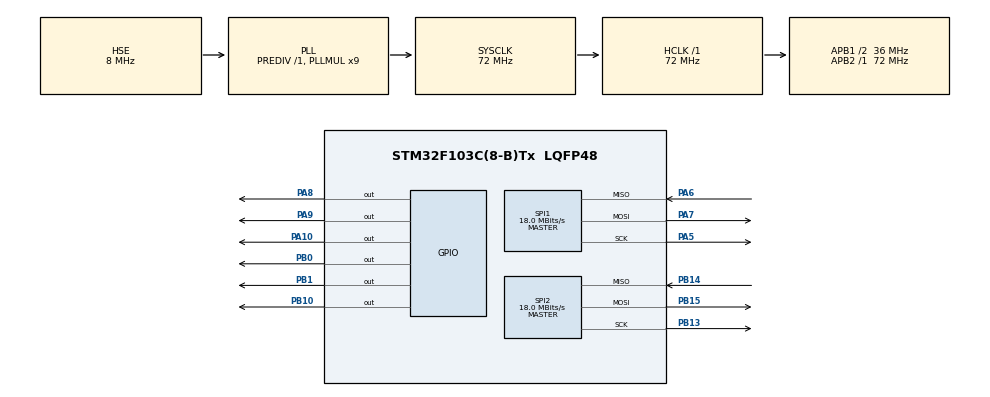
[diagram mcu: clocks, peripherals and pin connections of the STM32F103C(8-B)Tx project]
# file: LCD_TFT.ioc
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Dma.Request0=SPI1_TX
Dma.Request1=SPI2_TX
Dma.SPI1_TX.0.Direction=DMA_MEMORY_TO_PERIPH
Dma.SPI1_TX.0.Instance=DMA1_Channel3
Dma.SPI1_TX.0.MemDataAlignment=DMA_MDATAALIGN_BYTE
Dma.SPI1_TX.0.MemInc=DMA_MINC_ENABLE
Dma.SPI1_TX.0.Mode=DMA_NORMAL
Dma.SPI1_TX.0.PeriphDataAlignment=DMA_PDATAALIGN_BYTE
Dma.SPI1_TX.0.PeriphInc=DMA_PINC_DISABLE
Dma.SPI1_TX.0.Priority=DMA_PRIORITY_LOW
Dma.SPI2_TX.1.Direction=DMA_MEMORY_TO_PERIPH
Dma.SPI2_TX.1.Instance=DMA1_Channel5
Dma.SPI2_TX.1.MemDataAlignment=DMA_MDATAALIGN_BYTE
Dma.SPI2_TX.1.MemInc=DMA_MINC_ENABLE
Dma.SPI2_TX.1.Mode=DMA_NORMAL
Dma.SPI2_TX.1.PeriphDataAlignment=DMA_PDATAALIGN_BYTE
Dma.SPI2_TX.1.PeriphInc=DMA_PINC_DISABLE
Dma.SPI2_TX.1.Priority=DMA_PRIORITY_LOW
Mcu.Family=STM32F1
Mcu.Name=STM32F103C(8-B)Tx
Mcu.Package=LQFP48
NVIC.DMA1_Channel3_IRQn=true\:0\:0\:false\:false\:true\:false\:true\:true
NVIC.DMA1_Channel5_IRQn=true\:0\:0\:false\:false\:true\:false\:true\:true
NVIC.PriorityGroup=NVIC_PRIORITYGROUP_4
PA10.Signal=GPIO_Output
PA13.Mode=Serial_Wire
PA13.Signal=SYS_JTMS-SWDIO
PA14.Mode=Serial_Wire
PA14.Signal=SYS_JTCK-SWCLK
PA5.Mode=Full_Duplex_Master
PA5.Signal=SPI1_SCK
PA6.Mode=Full_Duplex_Master
PA6.Signal=SPI1_MISO
PA7.Mode=Full_Duplex_Master
PA7.Signal=SPI1_MOSI
PA8.Signal=GPIO_Output
PA9.Signal=GPIO_Output
PB0.Signal=GPIO_Output
PB1.Signal=GPIO_Output
PB10.Signal=GPIO_Output
PB13.Mode=Full_Duplex_Master
PB13.Signal=SPI2_SCK
PB14.Mode=Full_Duplex_Master
PB14.Signal=SPI2_MISO
PB15.Mode=Full_Duplex_Master
PB15.Signal=SPI2_MOSI
PD0-OSC_IN.Mode=HSE-External-Oscillator
PD0-OSC_IN.Signal=RCC_OSC_IN
PD1-OSC_OUT.Mode=HSE-External-Oscillator
PD1-OSC_OUT.Signal=RCC_OSC_OUT
ProjectManager.HeapSize=0x200
ProjectManager.StackSize=0x400
ProjectManager.TargetToolchain=STM32CubeIDE
RCC.AHBFreq_Value=72000000
RCC.APB1CLKDivider=RCC_HCLK_DIV2
RCC.APB1Freq_Value=36000000
RCC.APB1TimFreq_Value=72000000
RCC.APB2Freq_Value=72000000
RCC.APB2TimFreq_Value=72000000
RCC.HCLKFreq_Value=72000000
RCC.PLLMUL=RCC_PLL_MUL9
RCC.PLLSourceVirtual=RCC_PLLSOURCE_HSE
RCC.SYSCLKFreq_VALUE=72000000
RCC.SYSCLKSource=RCC_SYSCLKSOURCE_PLLCLK
RCC.USBFreq_Value=72000000
SPI1.BaudRatePrescaler=SPI_BAUDRATEPRESCALER_4
SPI1.CalculateBaudRate=18.0 MBits/s
SPI1.Direction=SPI_DIRECTION_2LINES
SPI1.Mode=SPI_MODE_MASTER
SPI1.VirtualType=VM_MASTER
SPI2.CalculateBaudRate=18.0 MBits/s
SPI2.Direction=SPI_DIRECTION_2LINES
SPI2.Mode=SPI_MODE_MASTER
SPI2.VirtualType=VM_MASTER
board=custom

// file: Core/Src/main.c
/* USER CODE BEGIN Header */
/**
  ******************************************************************************
  * @file           : main.c
  * @brief          : Main program body
  ******************************************************************************
  * @attention
  *
  * Copyright (c) 2025 STMicroelectronics.
  * All rights reserved.
  *
  * This software is licensed under terms that can be found in the LICENSE file
  * in the root directory of this software component.
  * If no LICENSE file comes with this software, it is provided AS-IS.
  *
  ******************************************************************************
  */
/* USER CODE END Header */
#include "main.h"
#include "lcd128.h"
#include "math.h"
#include "LCD_Paint.h"
#include <stdlib.h>
#include <stdio.h>

/* USER CODE BEGIN PD */
typedef enum {
  STATE_UP_FROM_CENTER,
  STATE_DOWN_TO_CENTER,
  STATE_LEFT_FROM_CENTER,
  STATE_RIGHT_TO_CENTER,
  STATE_DOWN_FROM_CENTER,
  STATE_UP_TO_CENTER,
  STATE_RIGHT_FROM_CENTER,
  STATE_LEFT_TO_CENTER,

  STATE_UPLEFT_FROM_CENTER,
  STATE_DOWNRIGHT_TO_CENTER,
  STATE_UPRIGHT_FROM_CENTER,
  STATE_DOWNLEFT_TO_CENTER,
  STATE_DOWNLEFT_FROM_CENTER,
  STATE_UPRIGHT_TO_CENTER,
//  STATE_DOWNRIGHT_FROM_CENTER,
  STATE_UPLEFT_TO_CENTER,

  STATE_RANDOM_MOVE,
  STATE_RANDOM_MOVE1,
  STATE_RANDOM_TO_CENTER,
  STATE_PUPIL_ROTATE

} MoveState;

/* USER CODE END PD */

/* USER CODE BEGIN PM */
#define BUF_W 120
#define BUF_H 120
#define BLOCK_LINES 1
void draw_eye_with_pupil_to_buffer(int cx, int cy, int r, int pupil_r, int pupil_offset_x, int pupil_offset_y, uint16_t outer_color, uint16_t inner_color, uint16_t bgcolor, uint16_t pupil_color);
void draw_realistic_eye(int cx, int cy, int r, int pupil_r, int pupil_offset_x, int pupil_offset_y,uint16_t bgcolor);
void HAL_SPI_TxCpltCallback(SPI_HandleTypeDef *hspi);
void Animation_Loop(void);
void update_animation_state(void);
void draw_eye_line_with_pupil_to_buffer(
  int y, int cx, int cy, int r,
  int pupil_r, int pupil_offset_x, int pupil_offset_y,
  uint16_t outer_color, uint16_t inner_color, uint16_t bgcolor, uint16_t pupil_color,
  uint16_t* linebuf,
  int highlight_tick
);
// === Blend nhanh giữa 2 màu RGB565 ===
uint16_t blend_color_fast(uint16_t c1, uint16_t c2, uint8_t t) {
    uint8_t r1 = (c1 >> 11) & 0x1F, g1 = (c1 >> 5) & 0x3F, b1 = c1 & 0x1F;
    uint8_t r2 = (c2 >> 11) & 0x1F, g2 = (c2 >> 5) & 0x3F, b2 = c2 & 0x1F;

    uint8_t r = ((r1 * (255 - t)) + (r2 * t)) >> 8;
    uint8_t g = ((g1 * (255 - t)) + (g2 * t)) >> 8;
    uint8_t b = ((b1 * (255 - t)) + (b2 * t)) >> 8;

    return (r << 11) | (g << 5) | b;
}

/* USER CODE END PM */

SPI_HandleTypeDef hspi1;
SPI_HandleTypeDef hspi2;
DMA_HandleTypeDef hdma_spi1_tx;
DMA_HandleTypeDef hdma_spi2_tx;
LCD128_HandleTypeDef lcd1;
LCD128_HandleTypeDef lcd2;
/* USER CODE BEGIN PV */
// Trong USER CODE BEGIN PV
// Thêm khai báo extern biến trạng thái DMA
extern volatile uint8_t lcd128_dma_busy;
uint8_t centerX, centerY;
uint8_t rx_in, ry_in; // Bán trục lớn của elip trong
uint8_t pupilRadius, eyeRadius;
uint8_t pupilX, pupilY;
MoveState state;
// Thêm biến cho nội suy
int lerp_startX, lerp_startY, lerp_targetX, lerp_targetY;
float lerp_t;
int lerp_steps; // Số frame để di chuyển (có thể điều chỉnh tốc độ)
const int RANDOM_REPEAT = 20; // Số lần random liên tiếp mong muốn
uint8_t state_index, state_sequence_len, random_count;
// Thêm biến toàn cục cho highlight_tick
int global_highlight_tick = 0;
// Thứ tự các trạng thái chuyển động
const MoveState state_sequence[] = {
    STATE_RANDOM_MOVE1,
    STATE_UP_FROM_CENTER,
    STATE_UPLEFT_FROM_CENTER,
    STATE_UPRIGHT_FROM_CENTER,
    STATE_DOWN_TO_CENTER,
    STATE_RANDOM_MOVE1,
    STATE_LEFT_FROM_CENTER,
    STATE_RIGHT_TO_CENTER,
    STATE_DOWN_FROM_CENTER,
    STATE_UPLEFT_TO_CENTER,
    STATE_UP_TO_CENTER,
    STATE_DOWNLEFT_FROM_CENTER,
    STATE_RIGHT_FROM_CENTER,
    STATE_LEFT_TO_CENTER,

    STATE_UPLEFT_FROM_CENTER,
    STATE_DOWNRIGHT_TO_CENTER,
    STATE_UPRIGHT_TO_CENTER,
    STATE_UPRIGHT_FROM_CENTER,
    STATE_DOWNLEFT_TO_CENTER,
    STATE_RANDOM_MOVE1,
    STATE_DOWNLEFT_FROM_CENTER,
    STATE_UPRIGHT_TO_CENTER,
//    STATE_DOWNRIGHT_FROM_CENTER,
    STATE_UPLEFT_TO_CENTER,
    STATE_RANDOM_MOVE,
    STATE_RANDOM_TO_CENTER,
};

/* USER CODE END PV */

void SystemClock_Config(void);
static void MX_GPIO_Init(void);
static void MX_DMA_Init(void);
static void MX_SPI1_Init(void);
static void MX_SPI2_Init(void);

int main(void)
{

  /* MCU Configuration--------------------------------------------------------*/

  /* Reset of all peripherals, Initializes the Flash interface and the Systick. */
  HAL_Init();

  /* Configure the system clock */
  SystemClock_Config();

  /* Initialize all configured peripherals */
  MX_GPIO_Init();
  MX_DMA_Init();
  MX_SPI1_Init();
  MX_SPI2_Init();
  /* USER CODE BEGIN 2 */
  lcd1.hspi = &hspi1;
  lcd1.CS_Port = GPIOB; lcd1.CS_Pin = GPIO_PIN_10;
  lcd1.DC_Port = GPIOB; lcd1.DC_Pin = GPIO_PIN_1;
  lcd1.RST_Port = GPIOB; lcd1.RST_Pin = GPIO_PIN_0;

  lcd2.hspi = &hspi2;
  lcd2.CS_Port = GPIOA; lcd2.CS_Pin = GPIO_PIN_10;
  lcd2.DC_Port = GPIOA; lcd2.DC_Pin = GPIO_PIN_9;
  lcd2.RST_Port = GPIOA; lcd2.RST_Pin = GPIO_PIN_8;

  LCD128_Init(&lcd1);
  LCD128_Init(&lcd2);

  LCD128_FillScreen(&lcd1, LCD128_WHITE);
  LCD128_FillScreen(&lcd2, LCD128_WHITE);

  LCD_Paint_DrawDashedEllipse(&lcd1, 120, 120, 105, 105, 10, 7, 2, LCD128_BLACK);
  LCD_Paint_DrawDashedEllipse(&lcd1, 120, 120, 112, 112, 10, 7, 2, LCD128_BLACK);
  LCD_Paint_DrawDashedEllipse(&lcd1, 120, 120, 118, 118, 10, 7, 2, LCD128_BLACK);

  LCD_Paint_DrawDashedEllipse(&lcd2, 120, 120, 105, 105, 10, 7, 2, LCD128_BLACK);
  LCD_Paint_DrawDashedEllipse(&lcd2, 120, 120, 112, 112, 10, 7, 2, LCD128_BLACK);
  LCD_Paint_DrawDashedEllipse(&lcd2, 120, 120, 118, 118, 10, 7, 2, LCD128_BLACK);

  centerX = 120; centerY = 120;
  rx_in  = 65; ry_in  = 65;
  pupilRadius = 55;
  eyeRadius = pupilRadius / 2;
  pupilX = centerX; pupilY = centerY;
  lerp_startX = lerp_startY = lerp_targetX = lerp_targetY = 0;
  lerp_t = 1.0f;
  lerp_steps = 10;
  random_count = 0;
  state_sequence_len = sizeof(state_sequence) / sizeof(state_sequence[0]);
  state_index = 0;
  state = state_sequence[state_index];

  /* Infinite loop */
  /* USER CODE BEGIN WHILE */
  while (1)
  {
      // --- Cập nhật trạng thái animation ---
      update_animation_state();
      // --- Khóa trạng thái, vẽ và gửi frame ---
      Animation_Loop();
      // HAL_Delay(2);
  }
  /* USER CODE END 3 */
}

void Animation_Loop(void){

      // Tính offset pupil theo hướng di chuyển, giới hạn trong mắt trắng
      int pupil_offset_x = centerX - pupilX;
      int pupil_offset_y = centerY - pupilY;

      float max_offset = eyeRadius - pupilRadius;
      float dist = sqrtf(pupil_offset_x * pupil_offset_x + pupil_offset_y * pupil_offset_y);
      if (dist > max_offset && dist > 0) {
          pupil_offset_x = (int)(pupil_offset_x * max_offset / dist);
          pupil_offset_y = (int)(pupil_offset_y * max_offset / dist);
      }
      // --- KHÓA TRẠNG THÁI ---
      int pupilX_snapshot = pupilX;
      int pupilY_snapshot = pupilY;
      int pupilRadius_snapshot = pupilRadius;
      int eyeRadius_snapshot = eyeRadius;
      int pupil_offset_x_snapshot = pupil_offset_x;
      int pupil_offset_y_snapshot = pupil_offset_y;

      // Gửi từng hàng, KHÔNG cần framebuf lớn
      uint16_t linebuf[BUF_W * BLOCK_LINES];
      int highlight_tick_snapshot = global_highlight_tick;
      for (int y = 0; y < BUF_H; y += BLOCK_LINES) {
          int lines_to_send = (y + BLOCK_LINES <= BUF_H) ? BLOCK_LINES : (BUF_H - y);
          for (int i = 0; i < lines_to_send; i++) {
              draw_eye_line_with_pupil_to_buffer(y + i, BUF_W/2, BUF_H/2, pupilRadius_snapshot, eyeRadius_snapshot, pupil_offset_x_snapshot, pupil_offset_y_snapshot,
                                                 LCD128_BLACK, EYE_BLUE_1, LCD128_WHITE, LCD128_BLACK,
                                                 &linebuf[i * BUF_W],
                                                 highlight_tick_snapshot);
          }
          LCD128_DrawImage_DMA(&lcd1, pupilX_snapshot - BUF_W/2, pupilY_snapshot - BUF_H/2 + y, BUF_W, lines_to_send, linebuf);
          while (lcd128_dma_busy);
          LCD128_DrawImage_DMA(&lcd2, pupilX_snapshot - BUF_W/2, pupilY_snapshot - BUF_H/2 + y, BUF_W, lines_to_send, linebuf);
          while (lcd128_dma_busy);
      }

      // --- PAUSE LOGIC ---
      // static int pause_counter = 0; // Moved to update_animation_state
      // static int is_pausing = 0; // Moved to update_animation_state
      // int is_random_state = (state == STATE_RANDOM_MOVE || state == STATE_RANDOM_MOVE1 || state == STATE_RANDOM_TO_CENTER); // Moved to update_animation_state
      // if (lerp_t >= 1.0f) { // Moved to update_animation_state
      //     if (!is_random_state) { // Chỉ pause nếu KHÔNG phải random
      //         if (!is_pausing) {
      //             pause_counter = 0;
      //             is_pausing = 1;
      //         }
      //         if (pause_counter < 10) { // 40 frame ~ 0.7s
      //             pause_counter++;
      //             return;
      //         }
      //         is_pausing = 0;
      //     }
      //     // Sau khi pause (hoặc nếu là random), cho phép chuyển trạng thái mới
      // }

      // if (lerp_t < 1.0f) { // Moved to update_animation_state
      //     lerp_t += 1.5f / lerp_steps;
      //     if (lerp_t > 1.0f) lerp_t = 1.0f;
      //     pupilX = lerp_startX + (int)((lerp_targetX - lerp_startX) * lerp_t);
      //     pupilY = lerp_startY + (int)((lerp_targetY - lerp_startY) * lerp_t);
      // } else if (!is_pausing) { // Moved to update_animation_state
      //     switch (state) { // Moved to update_animation_state
      //           case STATE_RANDOM_MOVE1: { // Moved to update_animation_state
      //               int rangeX = rx_in - pupilRadius * 0.5; // Moved to update_animation_state
      //               int rangeY = ry_in - pupilRadius * 0.5; // Moved to update_animation_state
      //               if (random_count < RANDOM_REPEAT) { // Moved to update_animation_state
      //                   lerp_startX = pupilX; // Moved to update_animation_state
      //                   lerp_startY = pupilY; // Moved to update_animation_state
      //                   int offsetX = (rand() % rangeX) - rangeX / 2; // Moved to update_animation_state
      //                   int offsetY = (rand() % rangeY) - rangeY / 2; // Moved to update_animation_state
      //                   lerp_targetX = centerX + offsetX; // Moved to update_animation_state
      //                   lerp_targetY = centerY + offsetY; // Moved to update_animation_state
      //                   lerp_t = 0.0f; // Moved to update_animation_state
      //                   random_count++; // Moved to update_animation_state
      //               } else { // Moved to update_animation_state
      //                   random_count = 0; // Moved to update_animation_state
      //                   lerp_startX = pupilX; // Moved to update_animation_state
      //                   lerp_startY = pupilY; // Moved to update_animation_state
      //                   lerp_targetX = centerX; // Moved to update_animation_state
      //                   lerp_targetY = centerY; // Moved to update_animation_state
      //                   lerp_t = 0.0f; // Moved to update_animation_state
      //                   state_index++; // Moved to update_animation_state
      //                   if (state_index >= state_sequence_len) state_index = 0; // Moved to update_animation_state
      //                   state = state_sequence[state_index]; // Moved to update_animation_state
      //               } // Moved to update_animation_state
      //               break; // Moved to update_animation_state
      //           } // Moved to update_animation_state
      //       case STATE_UP_FROM_CENTER: // Moved to update_animation_state
      //           lerp_startX = pupilX; lerp_startY = pupilY; // Moved to update_animation_state
      //           lerp_targetX = centerX; // Moved to update_animation_state
      //           lerp_targetY = centerY - (ry_in - pupilRadius); // Moved to update_animation_state
      //           lerp_t = 0.0f; // Moved to update_animation_state
      //           state_index++; // Moved to update_animation_state
      //           if (state_index >= state_sequence_len) state_index = 0; // Moved to update_animation_state
      //           state = state_sequence[state_index]; // Moved to update_animation_state
      //           break; // Moved to update_animation_state
      //       case STATE_DOWN_TO_CENTER: // Moved to update_animation_state
      //           lerp_startX = pupilX; lerp_startY = pupilY; // Moved to update_animation_state
      //           lerp_targetX = centerX; // Moved to update_animation_state
      //           lerp_targetY = centerY; // Moved to update_animation_state
      //           lerp_t = 0.0f; // Moved to update_animation_state
      //           state_index++; // Moved to update_animation_state
      //           if (state_index >= state_sequence_len) state_index = 0; // Moved to update_animation_state
      //           state = state_sequence[state_index]; // Moved to update_animation_state
      //           break; // Moved to update_animation_state
      //       case STATE_LEFT_FROM_CENTER: // Moved to update_animation_state
      //           lerp_startX = pupilX; lerp_startY = pupilY; // Moved to update_animation_state
      //           lerp_targetX = centerX - (rx_in - pupilRadius); // Moved to update_animation_state
      //           lerp_targetY = centerY; // Moved to update_animation_state
      //           lerp_t = 0.0f; // Moved to update_animation_state
      //           state_index++; // Moved to update_animation_state
      //           if (state_index >= state_sequence_len) state_index = 0; // Moved to update_animation_state
      //           state = state_sequence[state_index]; // Moved to update_animation_state
      //           break; // Moved to update_animation_state
      //       case STATE_RIGHT_TO_CENTER: // Moved to update_animation_state
      //           lerp_startX = pupilX; lerp_startY = pupilY; // Moved to update_animation_state
      //           lerp_targetX = centerX; // Moved to update_animation_state
      //           lerp_targetY = centerY; // Moved to update_animation_state
      //           lerp_t = 0.0f; // Moved to update_animation_state
      //           state_index++; // Moved to update_animation_state
      //           if (state_index >= state_sequence_len) state_index = 0; // Moved to update_animation_state
      //           state = state_sequence[state_index]; // Moved to update_animation_state
      //           break; // Moved to update_animation_state
      //       case STATE_DOWN_FROM_CENTER: // Moved to update_animation_state
      //           lerp_startX = pupilX; lerp_startY = pupilY; // Moved to update_animation_state
      //           lerp_targetX = centerX; // Moved to update_animation_state
      //           lerp_targetY = centerY + (ry_in - pupilRadius); // Moved to update_animation_state
      //           lerp_t = 0.0f; // Moved to update_animation_state
      //           state_index++; // Moved to update_animation_state
      //           if (state_index >= state_sequence_len) state_index = 0; // Moved to update_animation_state
      //           state = state_sequence[state_index]; // Moved to update_animation_state
      //           break; // Moved to update_animation_state
      //       case STATE_UP_TO_CENTER: // Moved to update_animation_state
      //           lerp_startX = pupilX; lerp_startY = pupilY; // Moved to update_animation_state
      //           lerp_targetX = centerX; // Moved to update_animation_state
      //           lerp_targetY = centerY; // Moved to update_animation_state
      //           lerp_t = 0.0f; // Moved to update_animation_state
      //           state_index++; // Moved to update_animation_state
      //           if (state_index >= state_sequence_len) state_index = 0; // Moved to update_animation_state
      //           state = state_sequence[state_index]; // Moved to update_animation_state
      //           break; // Moved to update_animation_state
      //       case STATE_RIGHT_FROM_CENTER: // Moved to update_animation_state
      //           lerp_startX = pupilX; lerp_startY = pupilY; // Moved to update_animation_state
      //           lerp_targetX = centerX + (rx_in - pupilRadius); // Moved to update_animation_state
      //           lerp_targetY = centerY; // Moved to update_animation_state
      //           lerp_t = 0.0f; // Moved to update_animation_state
      //           state_index++; // Moved to update_animation_state
      //           if (state_index >= state_sequence_len) state_index = 0; // Moved to update_animation_state
      //           state = state_sequence[state_index]; // Moved to update_animation_state
      //           break; // Moved to update_animation_state
      //       case STATE_LEFT_TO_CENTER: // Moved to update_animation_state
      //           lerp_startX = pupilX; lerp_startY = pupilY; // Moved to update_animation_state
      //           lerp_targetX = centerX; // Moved to update_animation_state
      //           lerp_targetY = centerY; // Moved to update_animation_state
      //           lerp_t = 0.0f; // Moved to update_animation_state
      //           state_index++; // Moved to update_animation_state
      //           if (state_index >= state_sequence_len) state_index = 0; // Moved to update_animation_state
      //           state = state_sequence[state_index]; // Moved to update_animation_state
      //           break; // Moved to update_animation_state
      //       case STATE_UPLEFT_FROM_CENTER: // Moved to update_animation_state
      //           lerp_startX = pupilX; lerp_startY = pupilY; // Moved to update_animation_state
      //           lerp_targetX = centerX - (rx_in - pupilRadius) * 0.7f; // Moved to update_animation_state
      //           lerp_targetY = centerY - (ry_in - pupilRadius) * 0.7f; // Moved to update_animation_state
      //           lerp_t = 0.0f; // Moved to update_animation_state
      //           state_index++; // Moved to update_animation_state
      //           if (state_index >= state_sequence_len) state_index = 0; // Moved to update_animation_state
      //           state = state_sequence[state_index]; // Moved to update_animation_state
      //           break; // Moved to update_animation_state
      //       case STATE_DOWNRIGHT_TO_CENTER: // Moved to update_animation_state
      //           lerp_startX = pupilX; lerp_startY = pupilY; // Moved to update_animation_state
      //           lerp_targetX = centerX; // Moved to update_animation_state
      //           lerp_targetY = centerY; // Moved to update_animation_state
      //           lerp_t = 0.0f; // Moved to update_animation_state
      //           state_index++; // Moved to update_animation_state
      //           if (state_index >= state_sequence_len) state_index = 0; // Moved to update_animation_state
      //           state = state_sequence[state_index]; // Moved to update_animation_state
      //           break; // Moved to update_animation_state
      //       case STATE_UPRIGHT_FROM_CENTER: // Moved to update_animation_state
      //           lerp_startX = pupilX; lerp_startY = pupilY; // Moved to update_animation_state
      //           lerp_targetX = centerX + (rx_in - pupilRadius) * 0.7f; // Moved to update_animation_state
      //           lerp_targetY = centerY - (ry_in - pupilRadius) * 0.7f; // Moved to update_animation_state
      //           lerp_t = 0.0f; // Moved to update_animation_state
      //           state_index++; // Moved to update_animation_state
      //           if (state_index >= state_sequence_len) state_index = 0; // Moved to update_animation_state
      //           state = state_sequence[state_index]; // Moved to update_animation_state
      //           break; // Moved to update_animation_state
      //       case STATE_DOWNLEFT_TO_CENTER: // Moved to update_animation_state
      //           lerp_startX = pupilX; lerp_startY = pupilY; // Moved to update_animation_state
      //           lerp_targetX = centerX; // Moved to update_animation_state
      //           lerp_targetY = centerY; // Moved to update_animation_state
      //           lerp_t = 0.0f; // Moved to update_animation_state
      //           state_index++; // Moved to update_animation_state
      //           if (state_index >= state_sequence_len) state_index = 0; // Moved to update_animation_state
      //           state = state_sequence[state_index]; // Moved to update_animation_state
      //           break; // Moved to update_animation_state
      //       case STATE_DOWNLEFT_FROM_CENTER: // Moved to update_animation_state
      //           lerp_startX = pupilX; lerp_startY = pupilY; // Moved to update_animation_state
      //           lerp_targetX = centerX - (rx_in - pupilRadius) * 0.7f; // Moved to update_animation_state
      //           lerp_targetY = centerY + (ry_in - pupilRadius) * 0.7f; // Moved to update_animation_state
      //           lerp_t = 0.0f; // Moved to update_animation_state
      //           state_index++; // Moved to update_animation_state
      //           if (state_index >= state_sequence_len) state_index = 0; // Moved to update_animation_state
      //           state = state_sequence[state_index]; // Moved to update_animation_state
      //           break; // Moved to update_animation_state
      //       case STATE_UPRIGHT_TO_CENTER: // Moved to update_animation_state
      //           lerp_startX = pupilX; lerp_startY = pupilY; // Moved to update_animation_state
      //           lerp_targetX = centerX; // Moved to update_animation_state
      //           lerp_targetY = centerY; // Moved to update_animation_state
      //           lerp_t = 0.0f; // Moved to update_animation_state
      //           state_index++; // Moved to update_animation_state
      //           if (state_index >= state_sequence_len) state_index = 0; // Moved to update_animation_state
      //           state = state_sequence[state_index]; // Moved to update_animation_state
      //           break; // Moved to update_animation_state
      //       case STATE_DOWNRIGHT_FROM_CENTER: // Moved to update_animation_state
      //           lerp_startX = pupilX; lerp_startY = pupilY; // Moved to update_animation_state
      //           lerp_targetX = centerX + (rx_in - pupilRadius) * 0.7f; // Moved to update_animation_state
      //           lerp_targetY = centerY + (ry_in - pupilRadius) * 0.7f; // Moved to update_animation_state
      //           lerp_t = 0.0f; // Moved to update_animation_state
      //           state_index++; // Moved to update_animation_state
      //           if (state_index >= state_sequence_len) state_index = 0; // Moved to update_animation_state
      //           state = state_sequence[state_index]; // Moved to update_animation_state
      //           break; // Moved to update_animation_state
      //       case STATE_UPLEFT_TO_CENTER: // Moved to update_animation_state
      //           lerp_startX = pupilX; lerp_startY = pupilY; // Moved to update_animation_state
      //           lerp_targetX = centerX; // Moved to update_animation_state
      //           lerp_targetY = centerY; // Moved to update_animation_state
      //           lerp_t = 0.0f; // Moved to update_animation_state
      //           state_index++; // Moved to update_animation_state
      //           if (state_index >= state_sequence_len) state_index = 0; // Moved to update_animation_state
      //           state = state_sequence[state_index]; // Moved to update_animation_state
      //           break; // Moved to update_animation_state
      //       // Random move // Moved to update_animation_state
      //       case STATE_RANDOM_MOVE: // Moved to update_animation_state
      //           if (random_count < RANDOM_REPEAT) { // Moved to update_animation_state
      //               lerp_startX = pupilX; lerp_startY = pupilY; // Moved to update_animation_state
      //               lerp_targetX = centerX + (rand() % (rx_in - pupilRadius * 2)); // Moved to update_animation_state
      //               lerp_targetY = centerY + (rand() % (ry_in - pupilRadius * 2)); // Moved to update_animation_state
      //               lerp_t = 0.0f; // Moved to update_animation_state
      //               random_count++; // Moved to update_animation_state
      //           } else { // Moved to update_animation_state
      //               random_count = 0; // Moved to update_animation_state
      //               lerp_startX = pupilX; lerp_startY = pupilY; // Moved to update_animation_state
      //               lerp_targetX = centerX; // Moved to update_animation_state
      //               lerp_targetY = centerY; // Moved to update_animation_state
      //               lerp_t = 0.0f; // Moved to update_animation_state
      //               state_index++; // Moved to update_animation_state
      //               if (state_index >= state_sequence_len) state_index = 0; // Moved to update_animation_state
      //               state = state_sequence[state_index]; // Moved to update_animation_state
      //           } // Moved to update_animation_state
      //           break;            // Moved to update_animation_state
      //       case STATE_RANDOM_TO_CENTER: // Moved to update_animation_state
      //           lerp_startX = pupilX; lerp_startY = pupilY; // Moved to update_animation_state
      //           lerp_targetX = centerX; // Moved to update_animation_state
      //           lerp_targetY = centerY; // Moved to update_animation_state
      //           lerp_t = 0.0f; // Moved to update_animation_state
      //           state_index++; // Moved to update_animation_state
      //           if (state_index >= state_sequence_len) state_index = 0; // Moved to update_animation_state
      //           state = state_sequence[state_index]; // Moved to update_animation_state
      //           break; // Moved to update_animation_state
      //       case STATE_PUPIL_ROTATE: // Moved to update_animation_state
      //           break; // Moved to update_animation_state

      //   } // Moved to update_animation_state
      // } // Moved to update_animation_state
}

void Error_Handler(void)
{
  __disable_irq();
  while (1)
  {
  }
}

// update_animation_state chỉ cập nhật logic chuyển động, không vẽ/gửi
void update_animation_state(void) {
    global_highlight_tick++;
    static int pause_counter = 0;
    static int is_pausing = 0;
    int is_random_state = (state == STATE_RANDOM_MOVE || state == STATE_RANDOM_MOVE1 || state == STATE_RANDOM_TO_CENTER);
    if (lerp_t >= 1.0f) {
        if (!is_random_state) { // Chỉ pause nếu KHÔNG phải random
            if (!is_pausing) {
                pause_counter = 0;
                is_pausing = 1;
            }
            if (pause_counter < 10) { // 40 frame ~ 0.7s
                pause_counter++;
                return;
            }
            is_pausing = 0;
        }
    }

    if (lerp_t < 1.0f) {
        lerp_t += 1.4f / lerp_steps;
        if (lerp_t > 1.0f) lerp_t = 1.0f;
        pupilX = lerp_startX + (int)((lerp_targetX - lerp_startX) * lerp_t);
        pupilY = lerp_startY + (int)((lerp_targetY - lerp_startY) * lerp_t);
    } else if (!is_pausing) {
        switch (state) {
            case STATE_RANDOM_MOVE1: {
                int rangeX = rx_in - pupilRadius * 0.5;
                int rangeY = ry_in - pupilRadius * 0.5;
                if (random_count < RANDOM_REPEAT) {
                    lerp_startX = pupilX;
                    lerp_startY = pupilY;
                    int offsetX = (rand() % rangeX) - rangeX / 2;
                    int offsetY = (rand() % rangeY) - rangeY / 2;
                    lerp_targetX = centerX + offsetX;
                    lerp_targetY = centerY + offsetY;
                    lerp_t = 0.0f;
                    random_count++;
                } else {
                    random_count = 0;
                    lerp_startX = pupilX;
                    lerp_startY = pupilY;
                    lerp_targetX = centerX;
                    lerp_targetY = centerY;
                    lerp_t = 0.0f;
                    state_index++;
                    if (state_index >= state_sequence_len) state_index = 0;
                    state = state_sequence[state_index];
                }
                break;
            }
            case STATE_UP_FROM_CENTER:
                lerp_startX = pupilX; lerp_startY = pupilY;
                lerp_targetX = centerX;
                lerp_targetY = centerY - (ry_in - pupilRadius);
                lerp_t = 0.0f;
                state_index++;
                if (state_index >= state_sequence_len) state_index = 0;
                state = state_sequence[state_index];
                break;
            case STATE_DOWN_TO_CENTER:
                lerp_startX = pupilX; lerp_startY = pupilY;
                lerp_targetX = centerX;
                lerp_targetY = centerY;
                lerp_t = 0.0f;
                state_index++;
                if (state_index >= state_sequence_len) state_index = 0;
                state = state_sequence[state_index];
                break;
            case STATE_LEFT_FROM_CENTER:
                lerp_startX = pupilX; lerp_startY = pupilY;
                lerp_targetX = centerX - (rx_in - pupilRadius);
                lerp_targetY = centerY;
                lerp_t = 0.0f;
                state_index++;
                if (state_index >= state_sequence_len) state_index = 0;
                state = state_sequence[state_index];
                break;
            case STATE_RIGHT_TO_CENTER:
                lerp_startX = pupilX; lerp_startY = pupilY;
                lerp_targetX = centerX;
                lerp_targetY = centerY;
                lerp_t = 0.0f;
                state_index++;
                if (state_index >= state_sequence_len) state_index = 0;
                state = state_sequence[state_index];
                break;
            case STATE_DOWN_FROM_CENTER:
                lerp_startX = pupilX; lerp_startY = pupilY;
                lerp_targetX = centerX;
                lerp_targetY = centerY + (ry_in - pupilRadius);
                lerp_t = 0.0f;
                state_index++;
                if (state_index >= state_sequence_len) state_index = 0;
                state = state_sequence[state_index];
                break;
            case STATE_UP_TO_CENTER:
                lerp_startX = pupilX; lerp_startY = pupilY;
                lerp_targetX = centerX;
                lerp_targetY = centerY;
                lerp_t = 0.0f;
                state_index++;
                if (state_index >= state_sequence_len) state_index = 0;
                state = state_sequence[state_index];
                break;
            case STATE_RIGHT_FROM_CENTER:
                lerp_startX = pupilX; lerp_startY = pupilY;
                lerp_targetX = centerX + (rx_in - pupilRadius);
                lerp_targetY = centerY;
                lerp_t = 0.0f;
                state_index++;
                if (state_index >= state_sequence_len) state_index = 0;
                state = state_sequence[state_index];
                break;
            case STATE_LEFT_TO_CENTER:
                lerp_startX = pupilX; lerp_startY = pupilY;
                lerp_targetX = centerX;
                lerp_targetY = centerY;
                lerp_t = 0.0f;
                state_index++;
                if (state_index >= state_sequence_len) state_index = 0;
                state = state_sequence[state_index];
                break;
            case STATE_UPLEFT_FROM_CENTER:
                lerp_startX = pupilX; lerp_startY = pupilY;
                lerp_targetX = centerX - (rx_in - pupilRadius) / 1.4;
                lerp_targetY = centerY - (ry_in - pupilRadius) / 1.4;
                lerp_t = 0.0f;
                state_index++;
                if (state_index >= state_sequence_len) state_index = 0;
                state = state_sequence[state_index];
                break;
            case STATE_DOWNRIGHT_TO_CENTER:
                lerp_startX = pupilX; lerp_startY = pupilY;
                lerp_targetX = centerX;
                lerp_targetY = centerY;
                lerp_t = 0.0f;
                state_index++;
                if (state_index >= state_sequence_len) state_index = 0;
                state = state_sequence[state_index];
                break;
            case STATE_UPRIGHT_TO_CENTER:
                lerp_startX = pupilX; lerp_startY = pupilY;
                lerp_targetX = centerX;
                lerp_targetY = centerY;
                lerp_t = 0.0f;
                state_index++;
                if (state_index >= state_sequence_len) state_index = 0;
                state = state_sequence[state_index];
                break;
            case STATE_UPRIGHT_FROM_CENTER:
                lerp_startX = pupilX; lerp_startY = pupilY;
                lerp_targetX = centerX + (rx_in - pupilRadius) / 1.4;
                lerp_targetY = centerY - (ry_in - pupilRadius) / 1.4;
                lerp_t = 0.0f;
                state_index++;
                if (state_index >= state_sequence_len) state_index = 0;
                state = state_sequence[state_index];
                break;
            case STATE_DOWNLEFT_TO_CENTER:
                lerp_startX = pupilX; lerp_startY = pupilY;
                lerp_targetX = centerX;
                lerp_targetY = centerY;
                lerp_t = 0.0f;
                state_index++;
                if (state_index >= state_sequence_len) state_index = 0;
                state = state_sequence[state_index];
                break;
            case STATE_DOWNLEFT_FROM_CENTER:
                lerp_startX = pupilX; lerp_startY = pupilY;
                lerp_targetX = centerX - (rx_in - pupilRadius) / 1.4;
                lerp_targetY = centerY + (ry_in - pupilRadius) / 1.4;
                lerp_t = 0.0f;
                state_index++;
                if (state_index >= state_sequence_len) state_index = 0;
                state = state_sequence[state_index];
                break;
            case STATE_UPLEFT_TO_CENTER:
                lerp_startX = pupilX; lerp_startY = pupilY;
                lerp_targetX = centerX;
                lerp_targetY = centerY;
                lerp_t = 0.0f;
                state_index++;
                if (state_index >= state_sequence_len) state_index = 0;
                state = state_sequence[state_index];
                break;
            case STATE_RANDOM_MOVE:
                {
                    int rangeX = rx_in - pupilRadius * 0.5;
                    int rangeY = ry_in - pupilRadius * 0.5;
                    lerp_startX = pupilX;
                    lerp_startY = pupilY;
                    int offsetX = (rand() % rangeX) - rangeX / 2;
                    int offsetY = (rand() % rangeY) - rangeY / 2;
                    lerp_targetX = centerX + offsetX;
                    lerp_targetY = centerY + offsetY;
                    lerp_t = 0.0f;
                    state_index++;
                    if (state_index >= state_sequence_len) state_index = 0;
                    state = state_sequence[state_index];
                }
                break;
            case STATE_RANDOM_TO_CENTER:
                lerp_startX = pupilX; lerp_startY = pupilY;
                lerp_targetX = centerX;
                lerp_targetY = centerY;
                lerp_t = 0.0f;
                state_index++;
                if (state_index >= state_sequence_len) state_index = 0;
                state = state_sequence[state_index];
                break;
            case STATE_PUPIL_ROTATE:
                break;
        }
    }
}

// Định nghĩa đúng cho draw_eye_line_with_pupil_to_buffer:
void draw_eye_line_with_pupil_to_buffer(
  int y, int cx, int cy, int r,
  int pupil_r, int pupil_offset_x, int pupil_offset_y,
  uint16_t outer_color, uint16_t inner_color, uint16_t bgcolor, uint16_t pupil_color,
  uint16_t* linebuf,
  int highlight_tick
) {
  int r2 = r * r ;
  int pupil_cx = cx;
  int pupil_cy = cy;
  float shake_ampl = 2.0f;
  float shake1 = shake_ampl * sinf(highlight_tick * 0.15f);
  float shake2 = shake_ampl * cosf(highlight_tick * 0.18f);
  int highlight_cx3 = cx - r / 3 + (int)(1.5f * sinf(highlight_tick * 0.22f)) + 35;
  int highlight_cy3 = cy - r / 3 + (int)(1.5f * cosf(highlight_tick * 0.19f)) - 10;
  int show_highlight3 = ((highlight_tick % 120) < 10);
  int dy = y - cy;
  int dy2 = dy * dy;
  for (int x = 0; x < BUF_W; x++) {
      int dx = x - cx;
      int dist2 = dx * dx + dy2;
      uint16_t color = bgcolor;
      if (dist2 <= r2) {
          int t = (dist2 * 255) / r2;
          color = blend_color_fast(inner_color, outer_color, (uint8_t)(t*0.7f));
          int dx_pupil = x - pupil_cx;
          int dy_pupil = y - pupil_cy;
          if (dx_pupil * dx_pupil + dy_pupil * dy_pupil <= pupil_r * pupil_r) {
              color = 0x0000;
          }
      }
      int highlight_radius = 10;
      int highlight_cx = cx - r / 3 + (int)shake1;
      int highlight_cy = cy - r / 3 + (int)shake2;
      int dx_h = x - highlight_cx;
      int dy_h = y - highlight_cy;
      if (dx_h * dx_h + dy_h * dy_h <= highlight_radius * highlight_radius) {
          color = 0xFFFF;
      }
      int highlight_radius1 = 4;
      int highlight_cx1 = 2 * cx - highlight_cx;
      int highlight_cy1 = 2 * cy - highlight_cy;
      int dx_h1 = x - highlight_cx1;
      int dy_h1 = y - highlight_cy1;
      if (dx_h1 * dx_h1 + dy_h1 * dy_h1 <= highlight_radius1 * highlight_radius1) {
          color = 0xFFFF;
      }
      int highlight_radius3 = 8;
      int dx_h3 = x - highlight_cx3;
      int dy_h3 = y - highlight_cy3;
      if (show_highlight3 && (dx_h3 * dx_h3 + dy_h3 * dy_h3 <= highlight_radius3 * highlight_radius3)) {
          color = 0xFFFF;
      }
      linebuf[x] = color;
  }
}

void HAL_SPI_TxCpltCallback(SPI_HandleTypeDef *hspi) {
    if (hspi->Instance == SPI1) {
        // Đóng CS sau khi DMA xong cho LCD1
        HAL_GPIO_WritePin(GPIOB, GPIO_PIN_10, GPIO_PIN_SET); // CS_Pin LCD1
        lcd128_dma_busy = 0;
    }
    if (hspi->Instance == SPI2) {
        // Đóng CS sau khi DMA xong cho LCD2
        HAL_GPIO_WritePin(GPIOA, GPIO_PIN_10, GPIO_PIN_SET); // CS_Pin LCD2
        lcd128_dma_busy = 0;
    }
}

void SystemClock_Config(void)
{
  RCC_OscInitTypeDef RCC_OscInitStruct = {0};
  RCC_ClkInitTypeDef RCC_ClkInitStruct = {0};

  /** Initializes the RCC Oscillators according to the specified parameters
  * in the RCC_OscInitTypeDef structure.
  */
  RCC_OscInitStruct.OscillatorType = RCC_OSCILLATORTYPE_HSE;
  RCC_OscInitStruct.HSEState = RCC_HSE_ON;
  RCC_OscInitStruct.HSEPredivValue = RCC_HSE_PREDIV_DIV1;
  RCC_OscInitStruct.HSIState = RCC_HSI_ON;
  RCC_OscInitStruct.PLL.PLLState = RCC_PLL_ON;
  RCC_OscInitStruct.PLL.PLLSource = RCC_PLLSOURCE_HSE;
  RCC_OscInitStruct.PLL.PLLMUL = RCC_PLL_MUL9;
  if (HAL_RCC_OscConfig(&RCC_OscInitStruct) != HAL_OK)
  {
    Error_Handler();
  }

  /** Initializes the CPU, AHB and APB buses clocks
  */
  RCC_ClkInitStruct.ClockType = RCC_CLOCKTYPE_HCLK|RCC_CLOCKTYPE_SYSCLK
                              |RCC_CLOCKTYPE_PCLK1|RCC_CLOCKTYPE_PCLK2;
  RCC_ClkInitStruct.SYSCLKSource = RCC_SYSCLKSOURCE_PLLCLK;
  RCC_ClkInitStruct.AHBCLKDivider = RCC_SYSCLK_DIV1;
  RCC_ClkInitStruct.APB1CLKDivider = RCC_HCLK_DIV2;
  RCC_ClkInitStruct.APB2CLKDivider = RCC_HCLK_DIV1;

  if (HAL_RCC_ClockConfig(&RCC_ClkInitStruct, FLASH_LATENCY_2) != HAL_OK)
  {
    Error_Handler();
  }
}

static void MX_SPI1_Init(void)
{

  /* SPI1 parameter configuration*/
  hspi1.Instance = SPI1;
  hspi1.Init.Mode = SPI_MODE_MASTER;
  hspi1.Init.Direction = SPI_DIRECTION_2LINES;
  hspi1.Init.DataSize = SPI_DATASIZE_8BIT;
  hspi1.Init.CLKPolarity = SPI_POLARITY_LOW;
  hspi1.Init.CLKPhase = SPI_PHASE_1EDGE;
  hspi1.Init.NSS = SPI_NSS_SOFT;
  hspi1.Init.BaudRatePrescaler = SPI_BAUDRATEPRESCALER_4;
  hspi1.Init.FirstBit = SPI_FIRSTBIT_MSB;
  hspi1.Init.TIMode = SPI_TIMODE_DISABLE;
  hspi1.Init.CRCCalculation = SPI_CRCCALCULATION_DISABLE;
  hspi1.Init.CRCPolynomial = 10;
  if (HAL_SPI_Init(&hspi1) != HAL_OK)
  {
    Error_Handler();
  }

}

static void MX_SPI2_Init(void)
{

  /* SPI2 parameter configuration*/
  hspi2.Instance = SPI2;
  hspi2.Init.Mode = SPI_MODE_MASTER;
  hspi2.Init.Direction = SPI_DIRECTION_2LINES;
  hspi2.Init.DataSize = SPI_DATASIZE_8BIT;
  hspi2.Init.CLKPolarity = SPI_POLARITY_LOW;
  hspi2.Init.CLKPhase = SPI_PHASE_1EDGE;
  hspi2.Init.NSS = SPI_NSS_SOFT;
  hspi2.Init.BaudRatePrescaler = SPI_BAUDRATEPRESCALER_2;
  hspi2.Init.FirstBit = SPI_FIRSTBIT_MSB;
  hspi2.Init.TIMode = SPI_TIMODE_DISABLE;
  hspi2.Init.CRCCalculation = SPI_CRCCALCULATION_DISABLE;
  hspi2.Init.CRCPolynomial = 10;
  if (HAL_SPI_Init(&hspi2) != HAL_OK)
  {
    Error_Handler();
  }

}

static void MX_DMA_Init(void)
{

  /* DMA controller clock enable */
  __HAL_RCC_DMA1_CLK_ENABLE();

  /* DMA interrupt init */
  /* DMA1_Channel3_IRQn interrupt configuration */
  HAL_NVIC_SetPriority(DMA1_Channel3_IRQn, 0, 0);
  HAL_NVIC_EnableIRQ(DMA1_Channel3_IRQn);
  /* DMA1_Channel5_IRQn interrupt configuration */
  HAL_NVIC_SetPriority(DMA1_Channel5_IRQn, 0, 0);
  HAL_NVIC_EnableIRQ(DMA1_Channel5_IRQn);

}

static void MX_GPIO_Init(void)
{
  GPIO_InitTypeDef GPIO_InitStruct = {0};

  /* GPIO Ports Clock Enable */
  __HAL_RCC_GPIOD_CLK_ENABLE();
  __HAL_RCC_GPIOA_CLK_ENABLE();
  __HAL_RCC_GPIOB_CLK_ENABLE();

  /*Configure GPIO pin Output Level */
  HAL_GPIO_WritePin(GPIOB, GPIO_PIN_0|GPIO_PIN_1|GPIO_PIN_10, GPIO_PIN_RESET);

  /*Configure GPIO pin Output Level */
  HAL_GPIO_WritePin(GPIOA, GPIO_PIN_8|GPIO_PIN_9|GPIO_PIN_10, GPIO_PIN_RESET);

  /*Configure GPIO pins : PB0 PB1 PB10 */
  GPIO_InitStruct.Pin = GPIO_PIN_0|GPIO_PIN_1|GPIO_PIN_10;
  GPIO_InitStruct.Mode = GPIO_MODE_OUTPUT_PP;
  GPIO_InitStruct.Pull = GPIO_NOPULL;
  GPIO_InitStruct.Speed = GPIO_SPEED_FREQ_LOW;
  HAL_GPIO_Init(GPIOB, &GPIO_InitStruct);

  /*Configure GPIO pins : PA8 PA9 PA10 */
  GPIO_InitStruct.Pin = GPIO_PIN_8|GPIO_PIN_9|GPIO_PIN_10;
  GPIO_InitStruct.Mode = GPIO_MODE_OUTPUT_PP;
  GPIO_InitStruct.Pull = GPIO_NOPULL;
  GPIO_InitStruct.Speed = GPIO_SPEED_FREQ_LOW;
  HAL_GPIO_Init(GPIOA, &GPIO_InitStruct);

}
